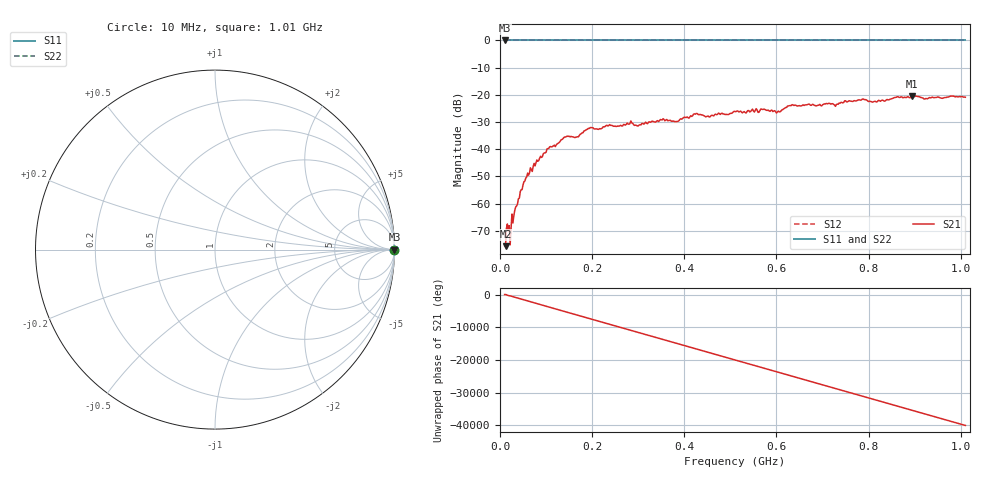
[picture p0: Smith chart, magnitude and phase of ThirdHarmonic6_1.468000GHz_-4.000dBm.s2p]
! 8/16/2025 5:05:46 PM
! C:\ANRITSUVNA\TEMP\TEMP.S2P
! CHANNEL.1
! TR.MEASUREMENT
! RAW.DATA
! RF.CORRECTION.OFF
! AVERAGING.OFF
! IF.BANDWIDTH: 5KHZ
! SWEEPTYPE:  FREQ.SWEEP(Linear)
! Reference Plane Port Info
! PORT:  PORT1  PORT2
! DISTANCE:  0  m  0  m
! TIME:  0  s  0  s
! PHASE.OFFSET:  0  deg.  0  deg.
! LOSS:  0  dB  0  dB
! REF.LOSS:  0  dB  0  dB
! REF.FREQ:  0  Hz  0  Hz
! Power Info
! POWER:  -20  dBm  -20  dBm
! EFF.POWER:  -20  dBm  -20  dBm
! SOURCE.ATTEN:  0  dB  0  dB
! TEST.ATTEN:  0  dB  0  dB
# GHZ S RI R 50.0
! FREQ.GHZ  S11RE  S11IM  S21RE  S21IM  S12RE  S12IM  S22RE  S22IM
!; PortSelection: Port_12
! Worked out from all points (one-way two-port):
!   501 points, 10 MHz to 1.01 GHz, reference 50 ohm
!   highest |S21| = -20.39 dB at 894 MHz (marker M1); lowest = -75.7 dB at 12 MHz (marker M2)
!   lowest |S11| = 0.0 dB at 10 MHz (marker M3)
!   |S11| at or under -10 dB: nowhere
!   |S22| runs from 0.0 to 0.0 dB; largest |S21 - S12| = 1.1
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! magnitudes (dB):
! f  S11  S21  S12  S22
! 10 MHz  0.0  -75.5  0.0  0.0
! 12 MHz  0.0  -75.7  0.0  0.0
! 16 MHz  0.0  -67.5  0.0  0.0
! 26 MHz  0.0  -63.8  0.0  0.0
! 30 MHz  0.0  -64.5  0.0  0.0
! 56 MHz  0.0  -50.6  0.0  0.0
! 76 MHz  0.0  -46.2  0.0  0.0
! 106 MHz  0.0  -39.6  0.0  0.0
! 138 MHz  0.0  -35.8  0.0  0.0
! 178 MHz  0.0  -34.0  0.0  0.0
! 196 MHz  0.0  -32.0  0.0  0.0
! 344 MHz  0.0  -29.8  0.0  0.0
! 384 MHz  0.0  -29.9  0.0  0.0
! 424 MHz  0.0  -27.1  0.0  0.0
! 452 MHz  0.0  -27.8  0.0  0.0
! 510 MHz  0.0  -26.1  0.0  0.0
! 604 MHz  0.0  -26.0  0.0  0.0
! 630 MHz  0.0  -23.9  0.0  0.0
! 678 MHz  0.0  -23.5  0.0  0.0
! 844 MHz  0.0  -21.8  0.0  0.0
! 894 MHz  0.0  -20.4  0.0  0.0
! 1.01 GHz  0.0  -20.9  0.0  0.0
